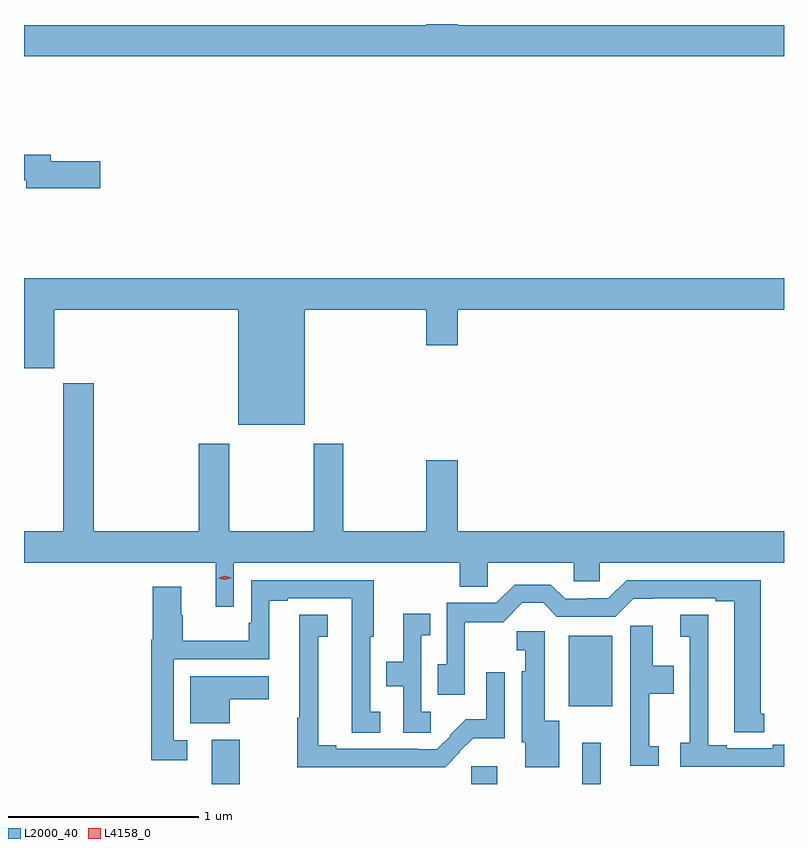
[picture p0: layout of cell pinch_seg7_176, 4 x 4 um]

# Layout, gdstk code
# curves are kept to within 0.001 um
import gdstk
lib = gdstk.Library(unit=1e-6, precision=1e-09)
def R(c, l, rs):  # rectangles x0, y0, x1, y1
    for r in rs: c.add(gdstk.rectangle(r[:2], r[2:], *l))
def P(c, l, *ps):  # polygons
    for p in ps: c.add(gdstk.Polygon(p, *l))
L2000_40 = (2000, 40)
L4158_0 = (4158, 0)

pinch_seg7_176 = lib.new_cell('pinch_seg7_176')
R(pinch_seg7_176, L2000_40, [(1122.917,1027.423,1123.065,1027.657), (1124.283,1027.423,1124.422,1027.516), (1124.868,1027.423,1124.965,1027.639), (1124.798,1027.832,1125.025,1028.203)])
P(pinch_seg7_176, L2000_40, [(1125.93,1031.416),(1124.212,1031.416),(1124.212,1031.423),(1124.048,1031.423),(1124.048,1031.416),(1121.93,1031.416),(1121.93,1031.252),(1125.93,1031.252)],
  [(1122.331,1030.7),(1122.07,1030.7),(1122.07,1030.736),(1121.93,1030.736),(1121.93,1030.6),(1121.942,1030.6),(1121.942,1030.558),(1122.331,1030.558)],
  [(1123.408,1029.92),(1124.048,1029.92),(1124.048,1029.732),(1124.212,1029.732),(1124.212,1029.92),(1125.93,1029.92),(1125.93,1030.084),(1121.93,1030.084),(1121.93,1029.611),(1122.088,1029.611),(1122.088,1029.92),(1123.058,1029.92),(1123.058,1029.314),(1123.408,1029.314)],
  [(1123.035,1028.588),(1124.224,1028.588),(1124.224,1028.461),(1124.37,1028.461),(1124.37,1028.588),(1124.823,1028.588),(1124.823,1028.49),(1124.961,1028.49),(1124.961,1028.588),(1125.93,1028.588),(1125.93,1028.752),(1124.212,1028.752),(1124.212,1029.127),(1124.048,1029.127),(1124.048,1028.752),(1123.611,1028.752),(1123.611,1029.214),(1123.456,1029.214),(1123.456,1028.752),(1123.011,1028.752),(1123.011,1029.214),(1122.851,1029.214),(1122.851,1028.752),(1122.296,1028.752),(1122.296,1029.532),(1122.136,1029.532),(1122.136,1028.752),(1121.93,1028.752),(1121.93,1028.588),(1122.938,1028.588),(1122.938,1028.355),(1123.035,1028.355)],
  [(1122.79,1027.653),(1122.717,1027.653),(1122.717,1028.079),(1123.222,1028.079),(1123.222,1028.388),(1123.318,1028.388),(1123.318,1028.4),(1123.656,1028.4),(1123.656,1028.099),(1123.655,1028.099),(1123.655,1027.693),(1123.804,1027.693),(1123.804,1027.804),(1123.752,1027.804),(1123.752,1028.199),(1123.771,1028.199),(1123.771,1028.496),(1123.125,1028.496),(1123.125,1028.272),(1123.113,1028.272),(1123.113,1028.176),(1122.765,1028.176),(1122.765,1028.31),(1122.757,1028.31),(1122.757,1028.461),(1122.608,1028.461),(1122.608,1028.182),(1122.601,1028.182),(1122.601,1027.548),(1122.79,1027.548)],
  [(1125.826,1027.794),(1125.808,1027.794),(1125.808,1028.496),(1125.102,1028.496),(1125.006,1028.4),(1124.891,1028.4),(1124.891,1028.397),(1124.778,1028.397),(1124.702,1028.473),(1124.512,1028.473),(1124.415,1028.376),(1124.154,1028.376),(1124.154,1028.054),(1124.107,1028.054),(1124.107,1027.893),(1124.25,1027.893),(1124.25,1028.275),(1124.452,1028.275),(1124.552,1028.376),(1124.662,1028.376),(1124.733,1028.304),(1125.042,1028.304),(1125.137,1028.399),(1125.572,1028.4),(1125.572,1028.385),(1125.668,1028.385),(1125.669,1027.696),(1125.826,1027.696)],
  [(1124.071,1027.804),(1124.022,1027.804),(1124.022,1028.207),(1124.069,1028.207),(1124.069,1028.32),(1123.925,1028.32),(1123.925,1028.066),(1123.837,1028.066),(1123.837,1027.938),(1123.926,1027.938),(1123.926,1027.693),(1124.071,1027.693)],
  [(1124.224,1027.589),(1124.222,1027.592),(1124.295,1027.665),(1124.46,1027.665),(1124.46,1028.011),(1124.364,1028.011),(1124.364,1027.763),(1124.255,1027.763),(1124.172,1027.68),(1124.175,1027.677),(1124.103,1027.605),(1124.003,1027.605),(1124.003,1027.608),(1123.573,1027.608),(1123.573,1027.628),(1123.478,1027.628),(1123.478,1028.197),(1123.528,1028.197),(1123.528,1028.315),(1123.379,1028.315),(1123.379,1027.772),(1123.368,1027.772),(1123.368,1027.512),(1124.146,1027.512)],
  [(1125.93,1027.63),(1125.872,1027.63),(1125.872,1027.611),(1125.628,1027.611),(1125.628,1027.626),(1125.532,1027.626),(1125.532,1028.207),(1125.531,1028.207),(1125.531,1028.315),(1125.384,1028.315),(1125.384,1028.197),(1125.435,1028.197),(1125.435,1027.639),(1125.384,1027.639),(1125.384,1027.515),(1125.93,1027.515)],
  [(1125.271,1027.623),(1125.221,1027.623),(1125.221,1027.898),(1125.35,1027.898),(1125.35,1028.046),(1125.238,1028.046),(1125.238,1028.257),(1125.122,1028.257),(1125.122,1027.518),(1125.271,1027.518)],
  [(1124.746,1027.756),(1124.671,1027.756),(1124.671,1028.226),(1124.523,1028.226),(1124.523,1028.127),(1124.568,1028.127),(1124.568,1028.016),(1124.549,1028.016),(1124.549,1027.644),(1124.567,1027.644),(1124.567,1027.511),(1124.746,1027.511)],
  [(1123.012,1027.868),(1123.219,1027.868),(1123.219,1027.99),(1122.806,1027.99),(1122.806,1027.742),(1123.012,1027.742)])
P(pinch_seg7_176, L4158_0, [(1122.988,1028.498),(1122.952,1028.507),(1122.951,1028.507),(1122.952,1028.507),(1122.987,1028.518),(1123.023,1028.509),(1123.024,1028.508),(1123.023,1028.508)])

lib.write_gds('pinch_seg7_176.gds')
